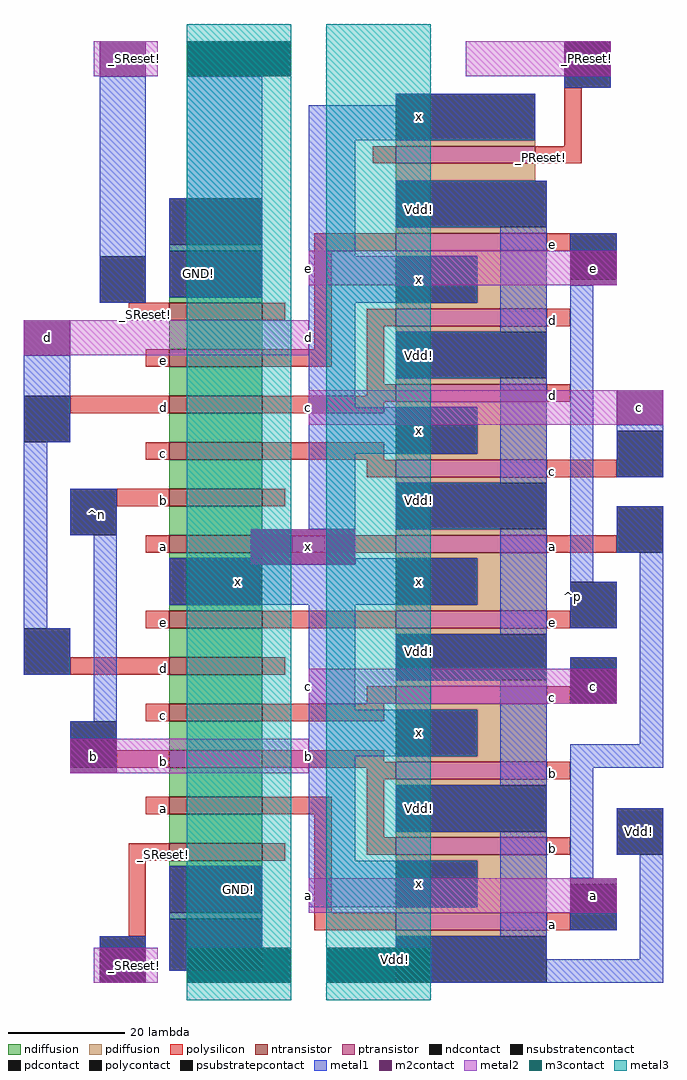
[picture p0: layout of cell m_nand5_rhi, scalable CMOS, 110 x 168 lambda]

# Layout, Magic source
magic
tech scmos
<< ndiffusion >>
rect -24 -731 -8 -730
rect -24 -740 -8 -739
rect -24 -748 -8 -743
rect -24 -756 -8 -751
rect -24 -764 -8 -759
rect -24 -772 -8 -767
rect -24 -780 -8 -775
rect -24 -784 -8 -783
rect -24 -793 -8 -792
rect -24 -801 -8 -796
rect -24 -809 -8 -804
rect -24 -817 -8 -812
rect -24 -825 -8 -820
rect -24 -833 -8 -828
rect -24 -837 -8 -836
rect -24 -846 -8 -845
<< pdiffusion >>
rect 15 -713 39 -712
rect 15 -719 39 -716
rect 15 -728 41 -727
rect 15 -732 41 -731
rect 29 -740 41 -732
rect 15 -741 41 -740
rect 15 -745 41 -744
rect 15 -754 41 -753
rect 15 -758 41 -757
rect 29 -766 41 -758
rect 15 -767 41 -766
rect 15 -771 41 -770
rect 15 -780 41 -779
rect 15 -784 41 -783
rect 29 -792 41 -784
rect 15 -793 41 -792
rect 15 -797 41 -796
rect 15 -806 41 -805
rect 15 -810 41 -809
rect 29 -818 41 -810
rect 15 -819 41 -818
rect 15 -823 41 -822
rect 15 -832 41 -831
rect 15 -836 41 -835
rect 29 -844 41 -836
rect 15 -845 41 -844
rect 15 -849 41 -848
<< ntransistor >>
rect -24 -743 -8 -740
rect -24 -751 -8 -748
rect -24 -759 -8 -756
rect -24 -767 -8 -764
rect -24 -775 -8 -772
rect -24 -783 -8 -780
rect -24 -796 -8 -793
rect -24 -804 -8 -801
rect -24 -812 -8 -809
rect -24 -820 -8 -817
rect -24 -828 -8 -825
rect -24 -836 -8 -833
<< ptransistor >>
rect 15 -716 39 -713
rect 15 -731 41 -728
rect 15 -744 41 -741
rect 15 -757 41 -754
rect 15 -770 41 -767
rect 15 -783 41 -780
rect 15 -796 41 -793
rect 15 -809 41 -806
rect 15 -822 41 -819
rect 15 -835 41 -832
rect 15 -848 41 -845
<< polysilicon >>
rect 44 -713 47 -703
rect 11 -716 15 -713
rect 39 -716 47 -713
rect 1 -731 15 -728
rect 41 -731 45 -728
rect -31 -743 -24 -740
rect -8 -743 -4 -740
rect 1 -748 4 -731
rect -28 -751 -24 -748
rect -8 -751 4 -748
rect 10 -744 15 -741
rect 41 -744 45 -741
rect 10 -754 13 -744
rect 10 -756 15 -754
rect -41 -759 -24 -756
rect -8 -757 15 -756
rect 41 -757 45 -754
rect -8 -759 13 -757
rect -28 -767 -24 -764
rect -8 -767 13 -764
rect 10 -770 15 -767
rect 41 -770 53 -767
rect -33 -775 -24 -772
rect -8 -775 -4 -772
rect -28 -783 -24 -780
rect -8 -783 15 -780
rect 41 -783 53 -780
rect -28 -796 -24 -793
rect -8 -796 15 -793
rect 41 -796 45 -793
rect -41 -804 -24 -801
rect -8 -804 -4 -801
rect 10 -809 15 -806
rect 41 -809 45 -806
rect -28 -812 -24 -809
rect -8 -812 13 -809
rect -33 -820 -24 -817
rect -8 -819 13 -817
rect -8 -820 15 -819
rect 10 -822 15 -820
rect 41 -822 45 -819
rect -28 -828 -24 -825
rect -8 -828 4 -825
rect -31 -836 -24 -833
rect -8 -836 -4 -833
rect -31 -849 -28 -836
rect 1 -845 4 -828
rect 10 -832 13 -822
rect 10 -835 15 -832
rect 41 -835 45 -832
rect 1 -848 15 -845
rect 41 -848 45 -845
<< ndcontact >>
rect -24 -739 -8 -731
rect -24 -792 -8 -784
rect -24 -845 -8 -837
<< pdcontact >>
rect 15 -712 39 -704
rect 15 -727 41 -719
rect 15 -740 29 -732
rect 15 -753 41 -745
rect 15 -766 29 -758
rect 15 -779 41 -771
rect 15 -792 29 -784
rect 15 -805 41 -797
rect 15 -818 29 -810
rect 15 -831 41 -823
rect 15 -844 29 -836
rect 15 -857 41 -849
<< psubstratepcontact >>
rect -24 -730 -8 -722
rect -24 -855 -8 -846
<< nsubstratencontact >>
rect 53 -835 61 -827
<< polycontact >>
rect 44 -703 52 -695
rect -36 -740 -28 -732
rect 45 -736 53 -728
rect -49 -764 -41 -756
rect 53 -770 61 -762
rect -41 -780 -33 -772
rect 53 -783 61 -775
rect 45 -796 53 -788
rect -49 -804 -41 -796
rect 45 -809 53 -801
rect -41 -820 -33 -812
rect -36 -857 -28 -849
rect 45 -848 53 -840
<< metal1 >>
rect -36 -740 -28 -701
rect -21 -722 -8 -701
rect 44 -703 52 -701
rect 15 -706 39 -704
rect -24 -739 -8 -722
rect 0 -712 39 -706
rect 0 -732 8 -712
rect 15 -727 41 -719
rect 0 -740 29 -732
rect -49 -764 -41 -749
rect 0 -758 8 -740
rect 33 -745 41 -727
rect 15 -753 41 -745
rect -49 -796 -45 -764
rect 0 -766 29 -758
rect -41 -780 -33 -772
rect 0 -779 8 -766
rect 33 -771 41 -753
rect 15 -779 41 -771
rect -49 -804 -41 -796
rect -37 -812 -33 -780
rect -24 -785 -10 -784
rect 8 -785 29 -784
rect -24 -792 29 -785
rect -41 -815 -33 -812
rect 0 -810 8 -792
rect 33 -797 41 -779
rect 45 -731 53 -728
rect 45 -788 49 -737
rect 53 -770 61 -761
rect 53 -783 61 -775
rect 45 -796 53 -788
rect 15 -805 41 -797
rect 0 -818 29 -810
rect 0 -836 8 -818
rect 33 -823 41 -805
rect 45 -803 53 -801
rect 57 -816 61 -783
rect 15 -831 41 -823
rect -36 -851 -28 -849
rect -24 -851 -8 -837
rect 0 -844 29 -836
rect 33 -849 41 -831
rect 45 -820 61 -816
rect 45 -839 49 -820
rect 53 -835 61 -827
rect 45 -848 53 -845
rect 15 -851 41 -849
rect -24 -855 -21 -851
rect 21 -853 41 -851
rect 57 -853 61 -835
rect 21 -857 61 -853
<< m2contact >>
rect -36 -701 -28 -695
rect -21 -701 -3 -695
rect 44 -701 52 -695
rect -49 -749 -41 -743
rect -10 -785 8 -779
rect -41 -821 -33 -815
rect 45 -737 53 -731
rect 53 -761 61 -755
rect 45 -809 53 -803
rect -36 -857 -28 -851
rect 45 -845 53 -839
rect -21 -857 -3 -851
rect 3 -857 21 -851
<< metal2 >>
rect -37 -701 -26 -695
rect 27 -701 52 -695
rect 0 -737 53 -731
rect -49 -749 0 -743
rect 0 -761 61 -755
rect -10 -785 8 -779
rect 0 -809 53 -803
rect -41 -821 0 -815
rect 0 -845 53 -839
rect -37 -857 -26 -851
<< m3contact >>
rect -21 -701 -3 -695
rect -21 -857 -3 -851
rect 3 -857 21 -851
<< metal3 >>
rect -21 -860 -3 -692
rect 3 -860 21 -692
<< labels >>
rlabel metal1 19 -774 19 -774 5 Vdd!
rlabel metal1 19 -800 19 -800 5 Vdd!
rlabel metal1 19 -762 19 -762 5 x
rlabel metal1 19 -724 19 -724 1 Vdd!
rlabel metal1 19 -736 19 -736 5 x
rlabel metal1 19 -749 19 -749 1 Vdd!
rlabel metal1 19 -788 19 -788 1 x
rlabel metal1 19 -814 19 -814 5 x
rlabel metal1 19 -840 19 -840 1 x
rlabel metal1 19 -827 19 -827 1 Vdd!
rlabel metal1 -12 -788 -12 -788 5 x
rlabel metal1 -12 -841 -12 -841 1 GND!
rlabel polysilicon 42 -730 42 -730 7 e
rlabel polysilicon 42 -795 42 -795 7 e
rlabel polysilicon 42 -847 42 -847 7 a
rlabel polysilicon 42 -782 42 -782 7 a
rlabel polysilicon 42 -769 42 -769 7 c
rlabel polysilicon 42 -808 42 -808 7 c
rlabel polysilicon 42 -834 42 -834 7 b
rlabel polysilicon 42 -821 42 -821 7 b
rlabel polysilicon 42 -756 42 -756 7 d
rlabel polysilicon 42 -743 42 -743 7 d
rlabel polysilicon -25 -782 -25 -782 3 a
rlabel polysilicon -25 -774 -25 -774 3 b
rlabel polysilicon -25 -766 -25 -766 3 c
rlabel polysilicon -25 -758 -25 -758 1 d
rlabel polysilicon -25 -811 -25 -811 3 c
rlabel polysilicon -25 -819 -25 -819 3 b
rlabel polysilicon -25 -827 -25 -827 3 a
rlabel polysilicon -25 -803 -25 -803 1 d
rlabel polysilicon -25 -795 -25 -795 3 e
rlabel polysilicon -25 -750 -25 -750 3 e
rlabel polysilicon -25 -835 -25 -835 1 _SReset!
rlabel metal1 19 -708 19 -708 5 x
rlabel polysilicon 40 -715 40 -715 7 _PReset!
rlabel metal1 -19 -735 -19 -735 1 GND!
rlabel metal2 48 -698 48 -698 7 _PReset!
rlabel space 29 -858 62 -723 3 ^p
rlabel metal2 -30 -854 -30 -854 3 _SReset!
rlabel metal2 -30 -698 -30 -698 3 _SReset!
rlabel polysilicon -28 -742 -28 -742 1 _SReset!
rlabel m2contact 15 -853 15 -853 1 Vdd!
rlabel metal2 -26 -857 -26 -851 3 ^n
rlabel metal2 -26 -701 -26 -695 3 ^n
rlabel space -50 -859 -23 -694 7 ^n
rlabel metal2 0 -845 0 -839 3 a
rlabel metal2 0 -821 0 -815 7 b
rlabel metal2 0 -809 0 -803 3 c
rlabel metal2 0 -761 0 -755 3 c
rlabel metal2 0 -749 0 -743 7 d
rlabel metal2 0 -737 0 -731 3 e
rlabel metal2 0 -785 0 -779 1 x
rlabel metal1 57 -831 57 -831 7 Vdd!
rlabel metal2 -45 -746 -45 -746 3 d
rlabel metal2 -37 -818 -37 -818 1 b
rlabel metal2 49 -842 49 -842 1 a
rlabel metal2 49 -806 49 -806 1 c
rlabel metal2 57 -758 57 -758 7 c
rlabel metal2 49 -734 49 -734 1 e
<< end >>
